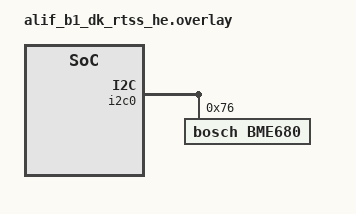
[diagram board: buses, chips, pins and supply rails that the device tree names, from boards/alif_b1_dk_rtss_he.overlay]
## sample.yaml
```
sample:
  name: BME680 Sensor sample
tests:
  sample.sensor.bme680:
    harness: sensor
    tags: samples sensor
    integration_platforms:
      - alif_e7_dk_rtss_hp
    platform_allow: alif_e7_dk_rtss_hp alif_e7_dk_rtss_he
                    alif_b1_dk_rtss_he alif_e1c_dk_rtss_he
                    alif_b1_dk_rtss_he_a5
```

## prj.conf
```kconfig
CONFIG_STDOUT_CONSOLE=y
CONFIG_I2C=y
CONFIG_PRINTK=y
CONFIG_SENSOR=y
```

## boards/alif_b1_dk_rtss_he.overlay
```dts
/* Copyright (C) 2024 Alif Semiconductor - All Rights Reserved.
 * Use, distribution and modification of this code is permitted under the
 * terms stated in the Alif Semiconductor Software License Agreement
 *
 * You should have received a copy of the Alif Semiconductor Software
 * License Agreement with this file. If not, please write to:
 * contact@alifsemi.com, or visit: https://alifsemi.com/license
 *
 */

/* Adding the bme680 sensor to the i2c0 instance.
 *
 */

&i2c0 {
	status = "okay";
	bme680@76{
			compatible = "bosch,bme680";
			reg = <0x76>;
		};
};
```

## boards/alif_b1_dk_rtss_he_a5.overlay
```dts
/* Copyright (C) 2025 Alif Semiconductor - All Rights Reserved.
 * Use, distribution and modification of this code is permitted under the
 * terms stated in the Alif Semiconductor Software License Agreement
 *
 * You should have received a copy of the Alif Semiconductor Software
 * License Agreement with this file. If not, please write to:
 * contact@alifsemi.com, or visit: https://alifsemi.com/license
 *
 */

/* Adding the bme680 sensor to the i2c1 instance.
 *
 */

&i2c1 {
	status = "okay";
	bme680@76{
			compatible = "bosch,bme680";
			reg = <0x76>;
		};
};
```

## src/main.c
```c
/*
 * Copyright (c) 2018 Bosch Sensortec GmbH
 *
 * SPDX-License-Identifier: Apache-2.0
 */

#include <zephyr/kernel.h>
#include <zephyr/device.h>
#include <zephyr/drivers/sensor.h>
#include <stdio.h>

int main(void)
{
	const struct device *const dev = DEVICE_DT_GET_ONE(bosch_bme680);
	struct sensor_value temp, press, humidity, gas_res;

	if (!device_is_ready(dev)) {
		printk("sensor: device not ready.\n");
		return 0;
	}

	printk("Device %p name is %s\n", dev, dev->name);

	while (1) {
		k_sleep(K_MSEC(3000));

		sensor_sample_fetch(dev);
		sensor_channel_get(dev, SENSOR_CHAN_AMBIENT_TEMP, &temp);
		sensor_channel_get(dev, SENSOR_CHAN_PRESS, &press);
		sensor_channel_get(dev, SENSOR_CHAN_HUMIDITY, &humidity);
		sensor_channel_get(dev, SENSOR_CHAN_GAS_RES, &gas_res);

		printk("T: %d.%06d; P: %d.%06d; H: %d.%06d; G: %d.%06d\n",
				temp.val1, temp.val2, press.val1, press.val2,
				humidity.val1, humidity.val2, gas_res.val1,
				gas_res.val2);
	}
	return 0;
}
```
